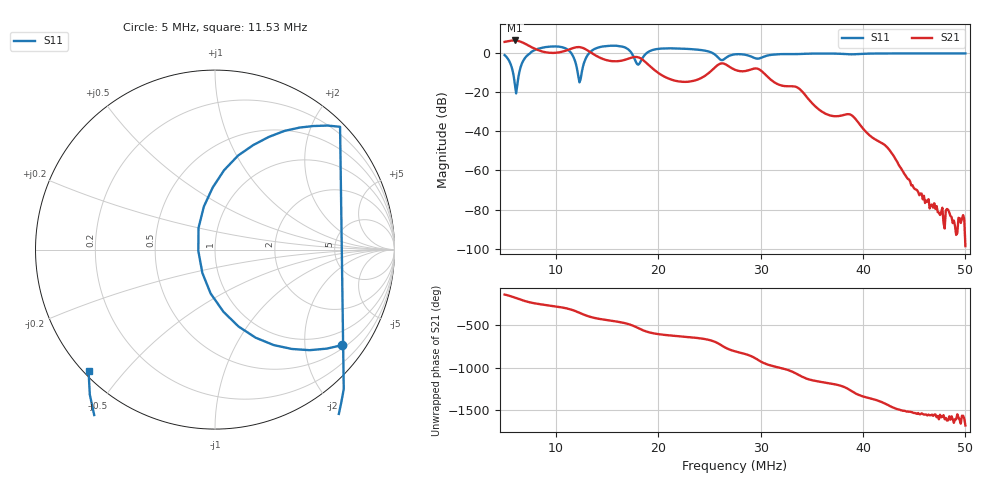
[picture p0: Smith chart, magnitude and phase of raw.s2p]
! S11/S21 only; reverse parameters are placeholders. Device calibration unverified.
! NanoVNA F V2 profile | COM3 | 2026-09-08T12:05:01.7526867-04:00 | device calibration unverified
# HZ S RI R 50
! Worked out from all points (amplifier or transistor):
!   401 points, 5 MHz to 50 MHz, reference 50 ohm
!   highest |S21| = 6.4 dB at 6.013 MHz (marker M1)
!   |S21| within 3 dB of that: start of sweep to 7.475 MHz
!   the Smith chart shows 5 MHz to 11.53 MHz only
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5000000  0.7091 -0.532  -1.568 -1.115  0 0  0 0
6012500  -0.0705 -0.13  -2.094 0.0391  0 0  0 0
7250000  0.5504 0.6886  -1.028 1.217  0 0  0 0
7812500  0.6901 -0.9154  -0.5708 1.21  0 0  0 0
1.00625e7  -0.0631 -1.469  0.2626 0.9829  0 0  0 0
1.1525e7  -0.7043 -0.6785  1.023 0.7934  0 0  0 0
1.25375e7  0.2518 0.2033  1.357 -0.2398  0 0  0 0
1.3775e7  1.122 -0.5871  0.4708 -0.7699  0 0  0 0
1.6025e7  0.5438 -1.422  -0.1357 -0.6017  0 0  0 0
1.6925e7  -0.1804 -1.303  -0.3989 -0.5671  0 0  0 0
1.76e7  -0.6901 -0.4083  -0.6981 -0.3585  0 0  0 0
1.83875e7  0.2722 0.6287  -0.6714 0.2024  0 0  0 0
1.90625e7  1.016 0.3625  -0.3448 0.3557  0 0  0 0
2.0075e7  1.278 -0.1243  -0.1062 0.2818  0 0  0 0
2.44625e7  0.9122 -0.7184  0.1413 0.2071  0 0  0 0
2.60375e7  0.5156 -0.4572  0.5249 -0.0881  0 0  0 0
2.75e7  0.8382 -0.3955  -0.000899 -0.3731  0 0  0 0
3.0425e7  0.7657 -0.3101  -0.1781 0.2279  0 0  0 0
3.50375e7  0.7035 -0.6627  0.0186 -0.0486  0 0  0 0
4.2575e7  0.4425 -0.8688  0.00333 -0.000508  0 0  0 0
4.62875e7  0.3003 -0.9287  -8.4e-05 -0.000137  0 0  0 0
5e7  0.1615 -0.9657  -6e-06 1e-05  0 0  0 0
